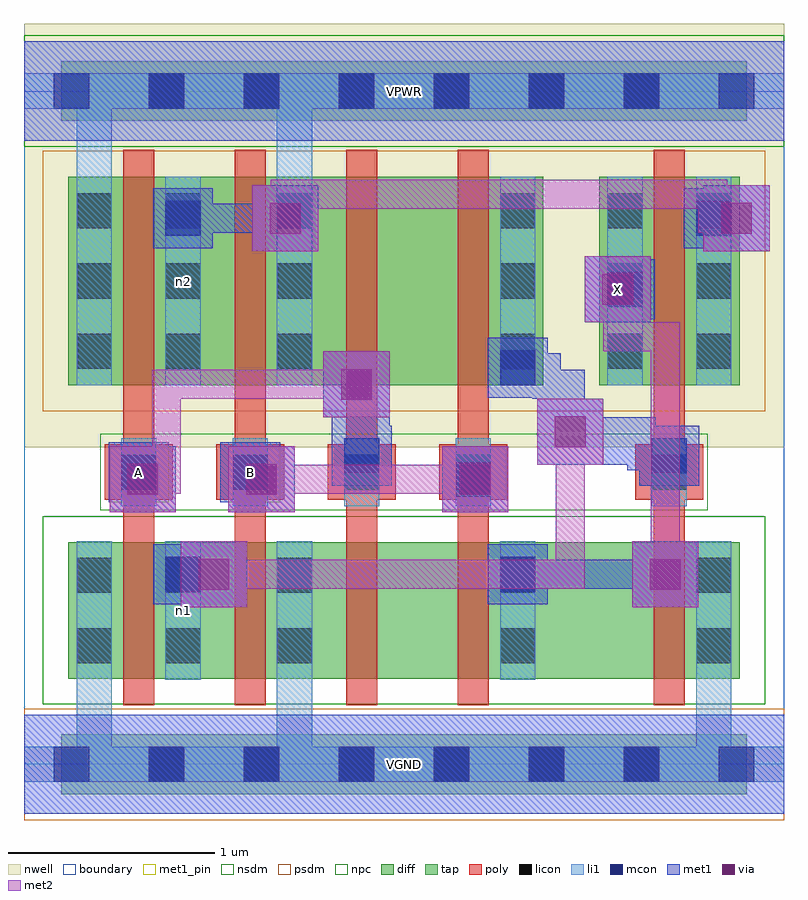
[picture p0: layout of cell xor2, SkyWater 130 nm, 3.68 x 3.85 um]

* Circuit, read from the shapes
.subckt xor2 A B VGND VPWR X n1 n2
XM1 n1 A VGND VGND sky130_fd_pr__nfet_01v8 w=0.66 l=0.15
XM2 VGND B n1 VGND sky130_fd_pr__nfet_01v8 w=0.66 l=0.15
XM3 n3 A VGND VGND sky130_fd_pr__nfet_01v8 w=0.66 l=0.15
XM4 X B n3 VGND sky130_fd_pr__nfet_01v8 w=0.66 l=0.15
XM5 VGND n1 X VGND sky130_fd_pr__nfet_01v8 w=0.66 l=0.15
XM6 n2 A VPWR VPWR sky130_fd_pr__pfet_01v8 w=1.01 l=0.15
XM7 VPWR B n2 VPWR sky130_fd_pr__pfet_01v8 w=1.01 l=0.15
XM8 n4 A VPWR VPWR sky130_fd_pr__pfet_01v8 w=1.01 l=0.15
XM9 n1 B n4 VPWR sky130_fd_pr__pfet_01v8 w=1.01 l=0.15
XM10 n2 n1 X VPWR sky130_fd_pr__pfet_01v8 w=1.01 l=0.15
.ends

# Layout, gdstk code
import gdstk
lib = gdstk.Library(unit=1e-6, precision=1e-09)
def R(c, l, rs):  # rectangles x0, y0, x1, y1
    for r in rs: c.add(gdstk.rectangle(r[:2], r[2:], *l))
def A(c, l, x, y, w, h, nx, ny, dx, dy):  # array of equal rectangles
    R(c, l, [(x+i*dx, y+j*dy, x+i*dx+w, y+j*dy+h) for i in range(nx) for j in range(ny)])
nwell = (64, 20)
diff = (65, 20)
tap = (65, 44)
poly = (66, 20)
licon = (66, 44)
li1 = (67, 20)
mcon = (67, 44)
met1_pin = (68, 16)
met1 = (68, 20)
via = (68, 44)
met2 = (69, 20)
nsdm = (93, 44)
psdm = (94, 20)
npc = (95, 20)
boundary = (235, 4)

xor2 = lib.new_cell('xor2')
R(xor2, nwell, [(0,1.535,3.68,3.585)])
R(xor2, diff, [(0.215,0.415,3.465,1.075), (0.215,1.835,2.515,2.845), (2.785,1.835,3.465,2.845)])
R(xor2, tap, [(0.18,-0.145,3.5,0.145), (0.18,3.115,3.5,3.405)])
A(xor2, poly, 0.48, 0.285, 0.15, 2.69, 4, 1, 0.54, 0)
A(xor2, poly, 0.39, 1.28, 0.33, 0.27, 4, 1, 0.54, 0)
R(xor2, poly, [(3.05,0.285,3.2,2.975), (2.96,1.28,3.29,1.55)])
A(xor2, licon, 0.605, -0.085, 0.17, 0.17, 6, 2, 0.46, 3.26)
A(xor2, licon, 0.47, 1.33, 0.17, 0.17, 4, 1, 0.54, 0)
A(xor2, licon, 0.255, 1.915, 0.17, 0.17, 1, 3, 0, 0.34)
A(xor2, licon, 0.685, 1.915, 0.17, 0.17, 1, 3, 0, 0.34)
A(xor2, licon, 1.225, 1.915, 0.17, 0.17, 1, 3, 0, 0.34)
A(xor2, licon, 2.305, 1.915, 0.17, 0.17, 1, 3, 0, 0.34)
A(xor2, licon, 2.825, 1.915, 0.17, 0.17, 1, 3, 0, 0.34)
A(xor2, licon, 3.255, 1.915, 0.17, 0.17, 1, 3, 0, 0.34)
R(xor2, licon, [(0.255,0.49,0.425,0.66), (0.685,0.49,0.855,0.66), (1.225,0.49,1.395,0.66), (2.305,0.49,2.475,0.66), (3.255,0.49,3.425,0.66), (0.255,0.83,0.425,1), (0.685,0.83,0.855,1), (1.225,0.83,1.395,1), (2.305,0.83,2.475,1), (3.255,0.83,3.425,1), (3.04,1.33,3.21,1.5)])
A(xor2, li1, 0.47, 1.25, 0.17, 0.33, 4, 1, 0.54, 0)
R(xor2, li1, [(0,-0.085,3.68,0.085), (0.255,-0.085,0.425,1.08), (1.225,-0.085,1.395,1.08), (3.255,-0.085,3.425,1.08), (0.255,0.41,0.425,1.08), (0.685,0.41,0.855,1.08), (1.225,0.41,1.395,1.08), (2.305,0.41,2.475,1.08), (3.255,0.41,3.425,1.08), (3.04,1.25,3.21,1.58), (0.255,1.835,0.425,2.845), (0.255,1.835,0.425,3.345), (0.685,1.835,0.855,2.845), (1.225,1.835,1.395,2.845), (1.225,1.835,1.395,3.345), (2.305,1.835,2.475,2.845), (2.825,1.835,2.995,2.845), (3.255,1.835,3.425,2.845), (0,3.175,3.68,3.345)])
A(xor2, mcon, 0.145, -0.085, 0.17, 0.17, 8, 2, 0.46, 3.26)
R(xor2, mcon, [(0.685,0.835,0.855,1.005), (2.305,0.835,2.475,1.005), (2.09,1.295,2.26,1.465), (0.47,1.33,0.64,1.5), (1.01,1.33,1.18,1.5), (1.55,1.41,1.72,1.58), (3.04,1.41,3.21,1.58), (2.305,1.835,2.475,2.005), (2.825,2.215,2.995,2.385), (0.685,2.56,0.855,2.73), (3.255,2.56,3.425,2.73)])
R(xor2, met1_pin, [(0,-0.24,3.68,0.24), (0.41,1.27,0.7,1.56), (0.95,1.27,1.24,1.56), (2.715,2.14,3.035,2.46), (0,3.02,3.68,3.5)])
R(xor2, met1, [(0,-0.24,3.68,0.24), (0.76,0.76,1.08,1.08), (2.945,0.76,3.265,1.08), (0.625,0.775,0.915,1.065), (2.245,0.775,2.535,1.065), (0.7,0.85,0.99,0.99), (2.32,0.85,2.6,0.99), (2.46,0.85,3.175,0.99), (0.415,1.22,0.735,1.54), (0.99,1.22,1.31,1.54), (2.025,1.22,2.345,1.54), (2.03,1.235,2.32,1.525), (0.41,1.27,0.7,1.56), (0.95,1.27,1.24,1.56), (0.505,1.31,0.645,1.45), (1.08,1.31,1.22,1.45), (2.105,1.31,2.255,1.45), (1.49,1.35,1.78,1.64), (2.98,1.35,3.27,1.64), (1.54,1.425,1.68,1.68), (1.54,1.425,1.705,1.565), (2.92,1.425,3.195,1.565), (2.92,1.425,3.06,1.68), (2.485,1.45,2.805,1.77), (2.805,1.45,2.92,1.565), (2.805,1.45,2.92,1.68), (1.54,1.54,1.68,1.91), (2.575,1.54,3.06,1.68), (2.575,1.54,2.715,1.91), (1.54,1.565,1.705,1.68), (1.49,1.64,1.77,1.68), (1.45,1.68,1.77,2), (2.46,1.77,2.6,1.99), (2.46,1.77,2.715,1.91), (2.245,1.775,2.535,2.065), (2.32,1.85,2.6,1.99), (2.715,2.14,3.035,2.46), (2.765,2.155,3.055,2.445), (2.805,2.23,2.98,2.37), (1.105,2.485,1.425,2.805), (3.29,2.485,3.61,2.805), (0.625,2.5,0.915,2.79), (3.195,2.5,3.485,2.79), (0.7,2.575,0.99,2.715), (0.85,2.575,1.335,2.715), (3.27,2.575,3.52,2.715), (0,3.02,3.68,3.5)])
R(xor2, via, [(0.845,0.845,0.995,0.995), (3.03,0.845,3.18,0.995), (0.5,1.305,0.65,1.455), (1.075,1.305,1.225,1.455), (2.11,1.305,2.26,1.455), (2.57,1.535,2.72,1.685), (1.535,1.765,1.685,1.915), (2.8,2.225,2.95,2.375), (1.19,2.57,1.34,2.72), (3.375,2.57,3.525,2.72)])
R(xor2, met2, [(0.76,0.76,1.08,1.08), (2.945,0.76,3.265,1.08), (0.85,0.85,2.715,0.99), (2.575,0.85,2.715,1.68), (3.035,0.85,3.175,2.14), (0.415,1.22,0.735,1.54), (0.99,1.22,1.31,1.54), (2.025,1.22,2.345,1.54), (0.505,1.31,0.76,1.45), (0.62,1.31,0.76,1.91), (1.08,1.31,2.255,1.45), (2.485,1.45,2.805,1.77), (1.45,1.68,1.77,2), (0.62,1.77,1.68,1.91), (2.805,2,2.945,2.37), (2.805,2,3.175,2.14), (2.715,2.14,3.035,2.46), (1.105,2.485,1.425,2.805), (3.29,2.485,3.61,2.805), (1.195,2.575,1.335,2.83), (3.265,2.575,3.52,2.715), (3.265,2.575,3.405,2.83), (1.195,2.69,3.405,2.83)])
R(xor2, nsdm, [(0.09,0.29,3.59,1.2), (0,2.99,3.68,3.53)])
R(xor2, psdm, [(0,-0.27,3.68,0.27), (0.09,1.71,3.59,2.97)])
R(xor2, npc, [(0.37,1.23,3.31,1.6)])
R(xor2, boundary, [(0,0,3.68,3.26)])
xor2.add(gdstk.Label('n1', (0.77,0.745), layer=67, texttype=5))
xor2.add(gdstk.Label('n2', (0.77,2.34), layer=67, texttype=5))
xor2.add(gdstk.Label('A', (0.555,1.415), layer=68, texttype=5))
xor2.add(gdstk.Label('B', (1.095,1.415), layer=68, texttype=5))
xor2.add(gdstk.Label('X', (2.875,2.3), layer=68, texttype=5))
xor2.add(gdstk.Label('VPWR', (1.84,3.26), layer=68, texttype=5))
xor2.add(gdstk.Label('VGND', (1.84,0), layer=68, texttype=5))
xor2.add(gdstk.Label('A', (0.555,1.415), layer=68, texttype=16))
xor2.add(gdstk.Label('B', (1.095,1.415), layer=68, texttype=16))
xor2.add(gdstk.Label('X', (2.875,2.3), layer=68, texttype=16))
xor2.add(gdstk.Label('VPWR', (1.84,3.26), layer=68, texttype=16))
xor2.add(gdstk.Label('VGND', (1.84,0), layer=68, texttype=16))

lib.write_gds('xor2.gds')
